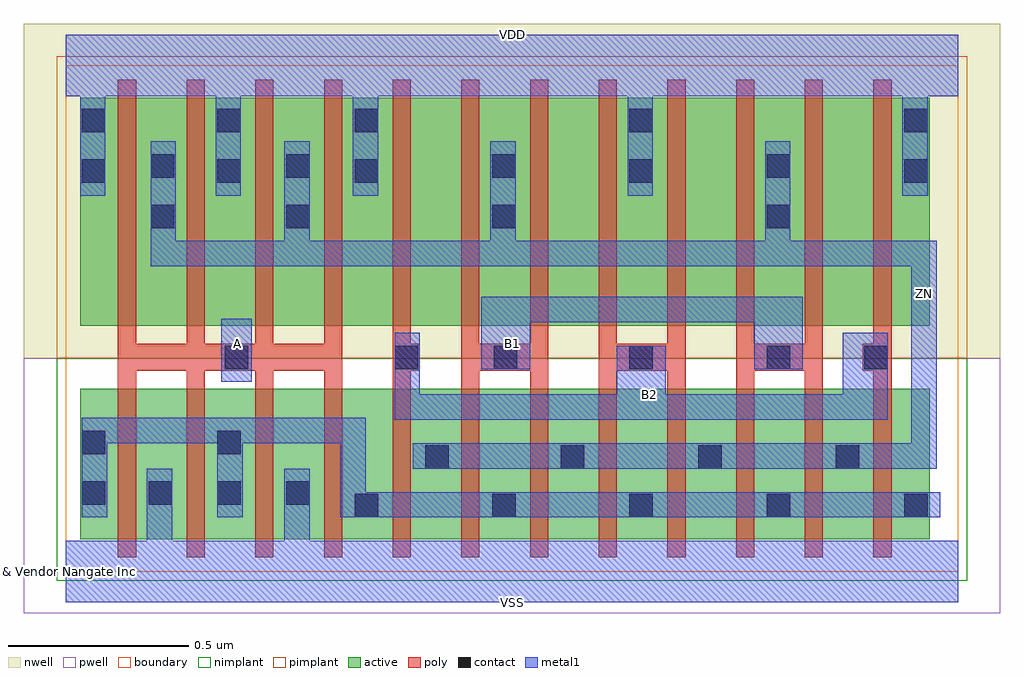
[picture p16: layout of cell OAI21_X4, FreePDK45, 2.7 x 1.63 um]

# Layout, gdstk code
import gdstk
lib = gdstk.Library(unit=1e-6, precision=1e-10)
def R(c, l, rs):  # rectangles x0, y0, x1, y1
    for r in rs: c.add(gdstk.rectangle(r[:2], r[2:], *l))
def A(c, l, x, y, w, h, nx, ny, dx, dy):  # array of equal rectangles
    R(c, l, [(x+i*dx, y+j*dy, x+i*dx+w, y+j*dy+h) for i in range(nx) for j in range(ny)])
def P(c, l, *ps):  # polygons
    for p in ps: c.add(gdstk.Polygon(p, *l))
active = (1, 0)
pwell = (2, 0)
nwell = (3, 0)
nimplant = (4, 0)
pimplant = (5, 0)
poly = (9, 0)
contact = (10, 0)
metal1 = (11, 0)
boundary = (235, 0)

oai21_x4 = lib.new_cell('OAI21_X4')
R(oai21_x4, active, [(0.04,0.09,2.39,0.505), (0.04,0.68,2.39,1.31)])
R(oai21_x4, pwell, [(-0.115,-0.115,2.585,0.59)])
R(oai21_x4, nwell, [(-0.115,0.59,2.585,1.515)])
R(oai21_x4, nimplant, [(-0.025,-0.025,2.495,0.59)])
R(oai21_x4, pimplant, [(-0.025,0.59,2.495,1.425)])
P(oai21_x4, poly, [(0.145,0.04),(0.145,1.36),(0.195,1.36),(0.195,0.63),(0.335,0.63),(0.335,1.36),(0.385,1.36),(0.385,0.63),(0.525,0.63),(0.525,1.36),(0.575,1.36),(0.575,0.63),(0.715,0.63),(0.715,1.36),(0.765,1.36),(0.765,0.04),(0.715,0.04),(0.715,0.555),(0.575,0.555),(0.575,0.04),(0.525,0.04),(0.525,0.555),(0.385,0.555),(0.385,0.04),(0.335,0.04),(0.335,0.555),(0.195,0.555),(0.195,0.04)],
  [(0.905,0.04),(0.905,1.36),(0.955,1.36),(0.955,0.63),(0.98,0.63),(0.98,0.555),(0.955,0.555),(0.955,0.04)],
  [(1.095,0.04),(1.095,1.36),(1.145,1.36),(1.145,0.63),(1.285,0.63),(1.285,1.36),(1.335,1.36),(1.335,0.04),(1.285,0.04),(1.285,0.555),(1.145,0.555),(1.145,0.04)],
  [(1.475,0.04),(1.475,1.36),(1.525,1.36),(1.525,0.63),(1.665,0.63),(1.665,1.36),(1.715,1.36),(1.715,0.04),(1.665,0.04),(1.665,0.555),(1.525,0.555),(1.525,0.04)],
  [(1.855,0.04),(1.855,1.36),(1.905,1.36),(1.905,0.63),(2.045,0.63),(2.045,1.36),(2.095,1.36),(2.095,0.04),(2.045,0.04),(2.045,0.555),(1.905,0.555),(1.905,0.04)],
  [(2.235,0.04),(2.235,0.555),(2.205,0.555),(2.205,0.63),(2.235,0.63),(2.235,1.36),(2.285,1.36),(2.285,0.04)])
A(oai21_x4, contact, 0.8, 0.15, 0.065, 0.065, 5, 1, 0.38, 0)
A(oai21_x4, contact, 0.23, 0.185, 0.065, 0.065, 3, 1, 0.19, 0)
A(oai21_x4, contact, 1.37, 0.285, 0.065, 0.065, 3, 1, 0.38, 0)
A(oai21_x4, contact, 0.8, 1.075, 0.065, 0.065, 3, 2, 0.76, 0.14)
R(oai21_x4, contact, [(0.045,0.185,0.11,0.25), (0.995,0.285,1.06,0.35), (0.045,0.325,0.11,0.39), (0.42,0.325,0.485,0.39), (0.44,0.56,0.505,0.625), (0.91,0.56,0.975,0.625), (1.185,0.56,1.25,0.625), (1.56,0.56,1.625,0.625), (1.94,0.56,2.005,0.625), (2.21,0.56,2.275,0.625), (0.235,0.95,0.3,1.015), (0.61,0.95,0.675,1.015), (1.18,0.95,1.245,1.015), (1.94,0.95,2.005,1.015), (0.045,1.075,0.11,1.14), (0.42,1.075,0.485,1.14), (0.235,1.09,0.3,1.155), (0.61,1.09,0.675,1.155), (1.18,1.09,1.245,1.155), (1.94,1.09,2.005,1.155), (0.045,1.215,0.11,1.28), (0.42,1.215,0.485,1.28)])
R(oai21_x4, metal1, [(0.43,0.525,0.515,0.7)])
P(oai21_x4, metal1, [(1.15,0.56),(1.15,0.76),(2.04,0.76),(2.04,0.56),(1.905,0.56),(1.905,0.69),(1.285,0.69),(1.285,0.56)],
  [(0.91,0.42),(0.91,0.66),(0.98,0.66),(0.98,0.49),(1.525,0.49),(1.525,0.625),(1.66,0.625),(1.66,0.49),(2.15,0.49),(2.15,0.66),(2.275,0.66),(2.275,0.42)],
  [(0.96,0.285),(0.96,0.355),(2.34,0.355),(2.34,0.845),(0.235,0.845),(0.235,1.19),(0.305,1.19),(0.305,0.915),(0.605,0.915),(0.605,1.19),(0.675,1.19),(0.675,0.915),(1.175,0.915),(1.175,1.19),(1.245,1.19),(1.245,0.915),(1.935,0.915),(1.935,1.19),(2.005,1.19),(2.005,0.915),(2.41,0.915),(2.41,0.285)],
  [(0.045,0.15),(0.045,0.425),(0.83,0.425),(0.83,0.22),(2.42,0.22),(2.42,0.15),(0.76,0.15),(0.76,0.355),(0.49,0.355),(0.49,0.15),(0.42,0.15),(0.42,0.355),(0.115,0.355),(0.115,0.15)],
  [(0,-0.085),(0,0.085),(0.225,0.085),(0.225,0.285),(0.295,0.285),(0.295,0.085),(0.605,0.085),(0.605,0.285),(0.675,0.285),(0.675,0.085),(2.47,0.085),(2.47,-0.085)],
  [(0.04,1.04),(0.04,1.315),(0,1.315),(0,1.485),(2.47,1.485),(2.47,1.315),(2.385,1.315),(2.385,1.04),(2.315,1.04),(2.315,1.315),(1.625,1.315),(1.625,1.04),(1.555,1.04),(1.555,1.315),(0.865,1.315),(0.865,1.04),(0.795,1.04),(0.795,1.315),(0.485,1.315),(0.485,1.04),(0.415,1.04),(0.415,1.315),(0.11,1.315),(0.11,1.04)])
R(oai21_x4, boundary, [(0,0,2.47,1.4)])
oai21_x4.add(gdstk.Label('A', (0.475,0.63), layer=11, texttype=0))
oai21_x4.add(gdstk.Label('B1', (1.235,0.63), layer=11, texttype=0))
oai21_x4.add(gdstk.Label('B2', (1.615,0.49), layer=11, texttype=0))
oai21_x4.add(gdstk.Label('VDD', (1.235,1.485), layer=11, texttype=0))
oai21_x4.add(gdstk.Label('VSS', (1.235,-0.085), layer=11, texttype=0))
oai21_x4.add(gdstk.Label('ZN', (2.375,0.77), layer=11, texttype=0))
oai21_x4.add(gdstk.Label('& Vendor Nangate Inc', (0,0), layer=63, texttype=63))
oai21_x4.add(gdstk.Label('& Product Open Cell Library', (0,0), layer=63, texttype=63))
oai21_x4.add(gdstk.Label('& Version 2010_12', (0,0), layer=63, texttype=63))
oai21_x4.add(gdstk.Label('& Instance OAI21_X4', (0,0), layer=63, texttype=63))

lib.write_gds('OAI21_X4.gds')
